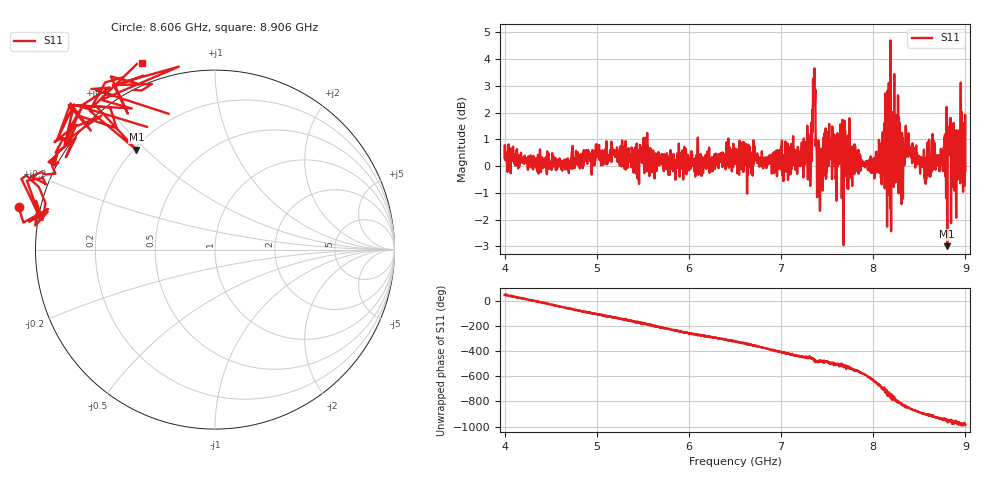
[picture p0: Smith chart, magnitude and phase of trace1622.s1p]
! Created with skrf 1.8.0 (http://scikit-rf.org).
# Hz S RI R 50.0
!freq ReS11 ImS11
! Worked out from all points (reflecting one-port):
!   1601 points, 4 GHz to 9 GHz, reference 50 ohm
!   lowest |S11| = -3.0 dB at 8.803 GHz (marker M1), VSWR 5.85, Z = 10.5 + j23.4 ohm
!   phase of S11 starts at 51 deg and turns -1038 deg over the sweep
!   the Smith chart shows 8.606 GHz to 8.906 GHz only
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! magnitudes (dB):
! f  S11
! 4 GHz  0.3
! 4.625 GHz  -0.2
! 5.25 GHz  0.0
! 5.875 GHz  0.5
! 6.5 GHz  0.3
! 7.125 GHz  0.6
! 7.294 GHz  1.2
! 7.316 GHz  -0.7
! 7.356 GHz  2.9
! 7.381 GHz  0.9
! 7.4 GHz  -0.6
! 7.412 GHz  -0.4
! 7.538 GHz  1.0
! 7.591 GHz  -0.5
! 7.669 GHz  1.3
! 7.75 GHz  0.0
! 8 GHz  0.2
! 8.162 GHz  -1.1
! 8.216 GHz  1.1
! 8.234 GHz  -0.6
! 8.278 GHz  1.8
! 8.312 GHz  1.2
! 8.375 GHz  0.9
! 8.556 GHz  -0.4
! 8.803 GHz  -3.0
! 8.906 GHz  1.0
! 8.953 GHz  -0.2
! 9 GHz  -0.2
